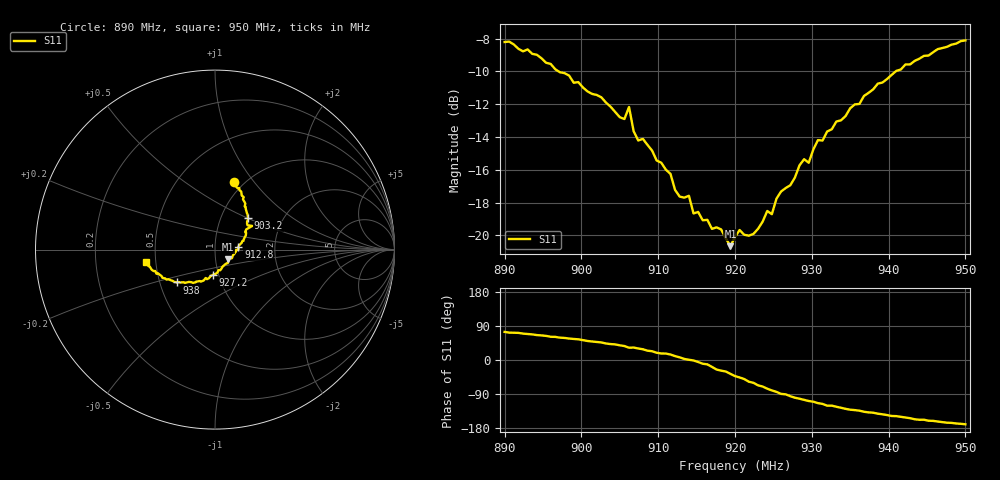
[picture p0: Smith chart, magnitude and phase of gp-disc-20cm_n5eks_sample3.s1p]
# HZ S RI R 50
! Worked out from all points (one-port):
!   101 points, 890 MHz to 950 MHz, reference 50 ohm
!   lowest |S11| = -20.7 dB at 919.4 MHz (marker M1), VSWR 1.20, Z = 57.7 - j6.41 ohm
!   |S11| at or under -10 dB: 897 MHz to 940.9 MHz (43.89 MHz wide, 4.78 % of centre)
!   S11 on the Smith chart (normalised r, x): 890 MHz: 0.90, +0.80; 903.2 MHz: 1.34, +0.50; 912.8 MHz: 1.30, +0.04; 927.2 MHz: 0.94, -0.27; 938 MHz: 0.62, -0.24; 950 MHz: 0.44, -0.07
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8.9e8  0.1066 0.3739
8.978e8  0.1644 0.2657
9.032e8  0.1842 0.1749
9.05e8  0.1787 0.1434
9.056e8  0.1811 0.1357
9.062e8  0.208 0.1319
9.068e8  0.1744 0.1129
9.074e8  0.1679 0.0983
9.08e8  0.1733 0.0937
9.116e8  0.1491 0.0384
9.128e8  0.1303 0.0159
9.14e8  0.132 0.00156
9.146e8  0.1166 -0.00255
9.182e8  0.0919 -0.0491
9.194e8  0.0745 -0.0551
9.2e8  0.0729 -0.0668
9.206e8  0.0719 -0.0748
9.224e8  0.0502 -0.0876
9.26e8  0.00125 -0.136
9.272e8  -0.0138 -0.1414
9.278e8  -0.0247 -0.148
9.29e8  -0.0446 -0.1647
9.296e8  -0.052 -0.1581
9.308e8  -0.0789 -0.1786
9.35e8  -0.1606 -0.1839
9.38e8  -0.2106 -0.1827
9.428e8  -0.2974 -0.148
9.5e8  -0.3866 -0.0711
